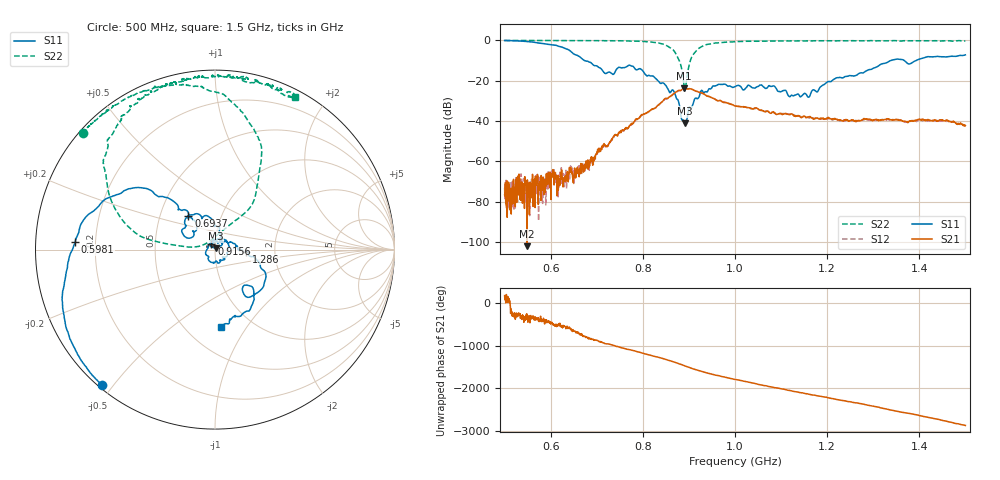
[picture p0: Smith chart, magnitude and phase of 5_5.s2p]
!Agilent Technologies,E8364B,US42250235,A.06.04.32
!Agilent E8364B: A.06.04.32
!Date: Friday, January 15, 2021 14:55:28
!Correction: S11(Full 2 Port(1,2)) S21(Full 2 Port(1,2)) S12(Full 2 Port(1,2)) S22(Full 2 Port(1,2))
!S2P File: Measurements: S11, S21, S12, S22:
# Hz S  dB  R 50
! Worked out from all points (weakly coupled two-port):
!   1601 points, 500 MHz to 1.5 GHz, reference 50 ohm
!   highest |S21| = -23.92 dB at 888.8 MHz (marker M1); lowest = -102.1 dB at 548.8 MHz (marker M2)
!   lowest |S11| = -41.3 dB at 890.6 MHz (marker M3), VSWR 1.02, Z = 50.4 + j0.769 ohm
!   |S11| at or under -10 dB: 672.5 MHz to 1.339 GHz (666.7 MHz wide, 66.3 % of centre); 1.367 GHz to 1.394 GHz (27.04 MHz wide, 1.96 % of centre)
!   |S22| runs from -25.1 to -0.1 dB; largest |S21 - S12| = 0.0041
!   S11 on the Smith chart (normalised r, x): 500 MHz: 0.01, -0.47; 598.1 MHz: 0.12, +0.03; 693.8 MHz: 0.70, +0.27; 915.6 MHz: 0.96, +0.06; 1.286 GHz: 1.42, -0.03; 1.5 GHz: 0.73, -0.77
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5e8  -0.14 -129.8  -76.72 179.2  -73.21 -125.3  -0.14 138.6
5.4875e8  -0.66 -154.5  -102.13 106.9  -78.07 -13.0  -0.15 134.5
5.85e8  -1.70 -175.2  -76.65 -30.8  -68.68 -22.6  -0.17 130.1
5.98125e8  -2.16 176.9  -65.38 -94.1  -67.60 -93.3  -0.17 129.9
6.05625e8  -2.33 171.7  -68.14 -156.6  -65.97 -128.4  -0.18 128.1
6.14375e8  -2.77 164.0  -68.75 -159.8  -69.29 -177.4  -0.14 127.8
6.66875e8  -8.97 130.7  -65.87 6.6  -66.97 -24.9  -0.20 121.7
6.9375e8  -12.50 128.6  -58.62 -143.1  -59.53 -141.2  -0.21 118.5
7.3375e8  -16.80 143.9  -48.85 100.9  -49.15 99.1  -0.27 114.0
7.74375e8  -12.72 123.2  -41.49 -19.4  -42.03 -21.7  -0.45 105.6
8.3375e8  -20.35 73.7  -32.14 171.3  -32.18 168.1  -1.34 86.0
8.69375e8  -26.47 35.1  -26.12 55.3  -26.22 52.3  -5.87 60.8
8.8875e8  -40.41 60.3  -23.92 -19.6  -24.00 -22.2  -21.19 78.5
8.90625e8  -41.29 62.4  -23.93 -28.0  -24.02 -31.0  -24.72 108.2
9.04375e8  -33.88 139.6  -24.20 -81.3  -24.31 -84.4  -9.26 171.9
9.15625e8  -28.69 123.4  -25.21 -121.0  -25.30 -124.5  -5.28 162.1
9.63125e8  -22.02 43.8  -30.13 103.1  -29.90 99.8  -1.34 132.8
1e9  -23.07 -15.6  -32.69 12.7  -32.56 10.1  -0.73 120.9
1.166875e9  -25.04 56.4  -38.42 9.8  -38.79 9.4  -0.33 97.6
1.285625e9  -15.15 -3.6  -39.36 134.7  -39.35 130.6  -0.31 84.6
1.33375e9  -10.55 -23.3  -38.95 25.5  -39.32 28.9  -0.31 79.7
1.5e9  -7.27 -85.2  -42.28 13.0  -42.68 14.2  -0.36 62.4
